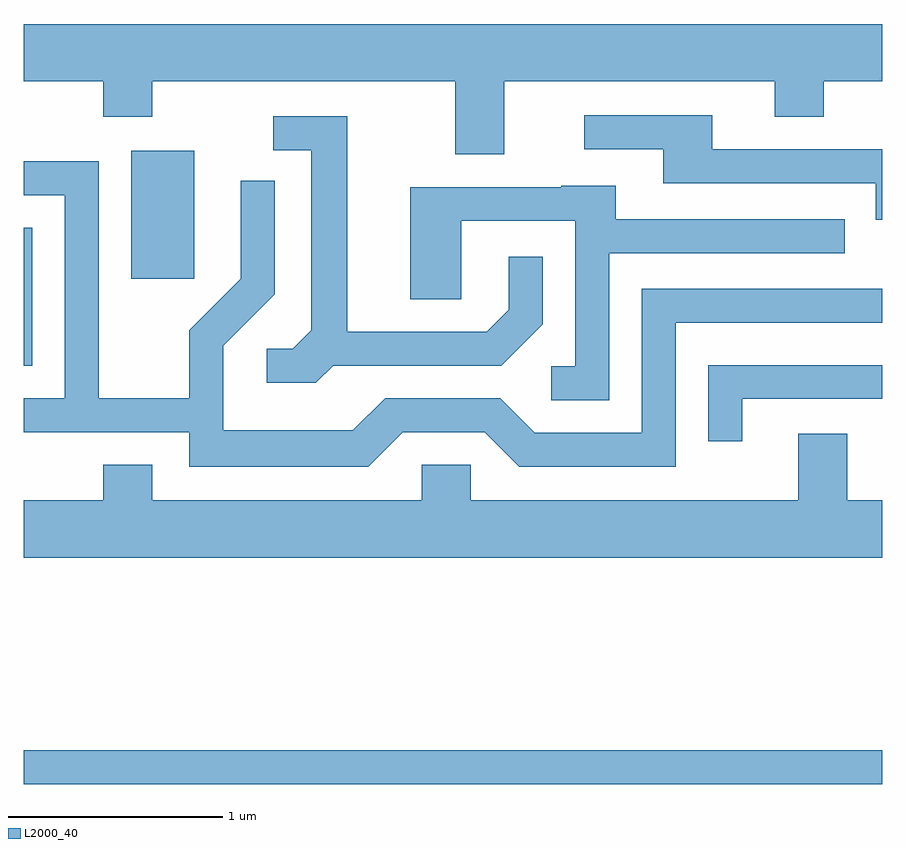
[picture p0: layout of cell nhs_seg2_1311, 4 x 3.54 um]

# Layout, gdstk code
import gdstk
lib = gdstk.Library(unit=1e-6, precision=1e-09)
def R(c, l, rs):  # rectangles x0, y0, x1, y1
    for r in rs: c.add(gdstk.rectangle(r[:2], r[2:], *l))
def P(c, l, *ps):  # polygons
    for p in ps: c.add(gdstk.Polygon(p, *l))
L2000_40 = (2000, 40)

nhs_seg2_1311 = lib.new_cell('nhs_seg2_1311')
R(nhs_seg2_1311, L2000_40, [(223.611,1016.181,227.611,1016.339), (223.611,1018.131,223.649,1018.774), (224.111,1018.536,224.404,1019.134)])
P(nhs_seg2_1311, L2000_40, [(225.849,1019.456),(227.111,1019.456),(227.111,1019.291),(227.339,1019.291),(227.339,1019.456),(227.611,1019.456),(227.611,1019.724),(223.611,1019.724),(223.611,1019.456),(223.981,1019.456),(223.981,1019.291),(224.209,1019.291),(224.209,1019.456),(225.621,1019.456),(225.621,1019.116),(225.849,1019.116)],
  [(227.611,1019.139),(226.819,1019.139),(226.819,1019.299),(226.223,1019.299),(226.223,1019.141),(226.591,1019.141),(226.591,1018.981),(227.581,1018.981),(227.581,1018.811),(227.611,1018.811)],
  [(225.052,1018.131),(225.837,1018.131),(226.029,1018.324),(226.029,1018.638),(225.871,1018.638),(225.871,1018.392),(225.769,1018.289),(225.119,1018.289),(225.119,1019.294),(224.773,1019.294),(224.773,1019.136),(224.951,1019.136),(224.951,1018.297),(224.864,1018.209),(224.743,1018.209),(224.743,1018.051),(224.972,1018.051)],
  [(225.377,1017.821),(225.759,1017.821),(225.919,1017.661),(226.649,1017.661),(226.649,1018.331),(227.611,1018.331),(227.611,1018.489),(226.491,1018.489),(226.491,1017.819),(225.992,1017.819),(225.832,1017.979),(225.294,1017.979),(225.144,1017.829),(224.539,1017.829),(224.539,1018.224),(224.779,1018.464),(224.779,1018.993),(224.621,1018.993),(224.621,1018.537),(224.381,1018.297),(224.381,1017.979),(223.959,1017.979),(223.959,1019.084),(223.611,1019.084),(223.611,1018.926),(223.801,1018.926),(223.801,1017.979),(223.611,1017.979),(223.611,1017.821),(224.381,1017.821),(224.381,1017.661),(225.217,1017.661)],
  [(226.339,1018.656),(227.438,1018.656),(227.438,1018.814),(226.369,1018.814),(226.369,1018.969),(226.115,1018.969),(226.115,1018.964),(225.411,1018.964),(225.411,1018.441),(225.649,1018.441),(225.649,1018.806),(226.181,1018.806),(226.181,1018.129),(226.068,1018.129),(226.068,1017.971),(226.339,1017.971)],
  [(226.959,1017.976),(227.611,1017.976),(227.611,1018.134),(226.801,1018.134),(226.801,1017.778),(226.959,1017.778)],
  [(227.611,1017.504),(227.449,1017.504),(227.449,1017.814),(227.221,1017.814),(227.221,1017.504),(225.694,1017.504),(225.694,1017.669),(225.466,1017.669),(225.466,1017.504),(224.209,1017.504),(224.209,1017.669),(223.981,1017.669),(223.981,1017.504),(223.611,1017.504),(223.611,1017.236),(227.611,1017.236)])

lib.write_gds('nhs_seg2_1311.gds')
